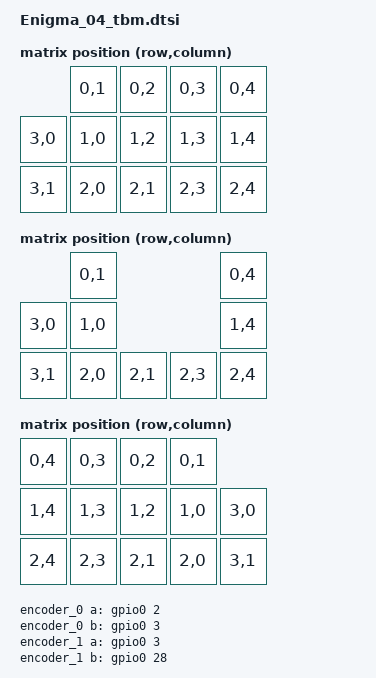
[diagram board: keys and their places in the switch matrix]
#include <dt-bindings/zmk/matrix_transform.h>
#include <zephyr/dt-bindings/input/input-event-codes.h>
#include "Enigma_04_tbm_layouts.dtsi"

/ {
    transform_tbm0: transform_tbm0 {
        compatible = "zmk,matrix-transform";
        columns = <5>;
        rows = <4>;               
        map = <
                  RC(0,1) RC(0,2) RC(0,3) RC(0,4)
          RC(3,0) RC(1,0) RC(1,2) RC(1,3) RC(1,4)
          RC(3,1) RC(2,0) RC(2,1) RC(2,3) RC(2,4)
        >;
    };

    transform_tbm1: transform_tbm1 {
        compatible = "zmk,matrix-transform";
        columns = <5>;
        rows = <4>;               
        map = <
                  RC(0,1)                 RC(0,4)
          RC(3,0) RC(1,0)                 RC(1,4)
          RC(3,1) RC(2,0) RC(2,1) RC(2,3) RC(2,4)
        >;
    };

    transform_tbm2: transform_tbm2 {
        compatible = "zmk,matrix-transform";
        columns = <5>;
        rows = <4>;               
        map = <
            RC(0,4) RC(0,3) RC(0,2) RC(0,1)
            RC(1,4) RC(1,3) RC(1,2) RC(1,0) RC(3,0)
            RC(2,4) RC(2,3) RC(2,1) RC(2,0) RC(3,1)
        >;
    };

    kscan_tbm0: kscan_tbm0 {
        compatible = "zmk,kscan-gpio-charlieplex";
        wakeup-source;
        interrupt-gpios = <&gpio1 11 (GPIO_ACTIVE_HIGH | GPIO_PULL_DOWN)>;
                gpios = <&gpio1 15 GPIO_ACTIVE_HIGH>,
                <&gpio1 12 GPIO_ACTIVE_HIGH>,
                <&gpio0 9 GPIO_ACTIVE_HIGH>,
                <&gpio0 10 GPIO_ACTIVE_HIGH>,
                <&gpio0 29 GPIO_ACTIVE_HIGH>;
    };

    encoder_0: encoder_0 {
        compatible = "alps,ec11";
        a-gpios = <&gpio0 2 (GPIO_ACTIVE_HIGH | GPIO_PULL_UP)>;
        b-gpios = <&gpio0 3 (GPIO_ACTIVE_HIGH | GPIO_PULL_UP)>;
        steps = <12>;
        status = "disabled";
    };

    sensors_0: sensors_0 {
        compatible = "zmk,keymap-sensors";
        sensors = <&encoder_0>;
        triggers-per-rotation = <10>;
    };

    encoder_1: encoder_1 {
        compatible = "alps,ec11";
        a-gpios = <&gpio0 3 (GPIO_ACTIVE_HIGH | GPIO_PULL_UP)>;
        b-gpios = <&gpio0 28 (GPIO_ACTIVE_HIGH | GPIO_PULL_UP)>;
        steps = <30>;
        status = "disabled";
    };

    sensors_1: sensors_1 {
        compatible = "zmk,keymap-sensors";
        sensors = <&encoder_1>;
        triggers-per-rotation = <15>;
    };
};


/ {
    trackball_listener: trackball_listener {
        compatible = "zmk,input-listener";
        device = <&trackball>;
    };
};

&pinctrl {
    spi0_default: spi0_default {
        group1 {
            psels = <NRF_PSEL(SPIM_SCK, 0, 5)>, //SCLK
                    <NRF_PSEL(SPIM_MOSI, 0, 4)>, //SDIO
                    <NRF_PSEL(SPIM_MISO, 0, 4)>; //SDIO
        };
    };

    spi0_sleep: spi0_sleep {
        group1 {
            psels = <NRF_PSEL(SPIM_SCK, 0, 5)>, //SCLK
                    <NRF_PSEL(SPIM_MOSI, 0, 4)>, //SDIO
                    <NRF_PSEL(SPIM_MISO, 0, 4)>; //SDIO
            low-power-enable;
        };
    };
};

&xiao_serial { 
    status = "disabled"; 
};

&spi0 {
    status = "okay";
    compatible = "nordic,nrf-spim";
    pinctrl-0 = <&spi0_default>;
    pinctrl-1 = <&spi0_sleep>;
    pinctrl-names = "default", "sleep";
    cs-gpios = <&gpio1 13 GPIO_ACTIVE_LOW>; //NCS

    trackball: trackball@0 {
        status = "disabled";
        compatible = "pixart,pmw3610";
        reg = <0>;
        spi-max-frequency = <2000000>;
        irq-gpios = <&gpio1 12 (GPIO_ACTIVE_LOW | GPIO_PULL_UP)>; //MOT
        evt-type = <INPUT_EV_REL>;
        x-input-code = <INPUT_REL_X>;
        y-input-code = <INPUT_REL_Y>;
        // disable force-awake
        // force-awake;
        // disable-burst-read;
    };
};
